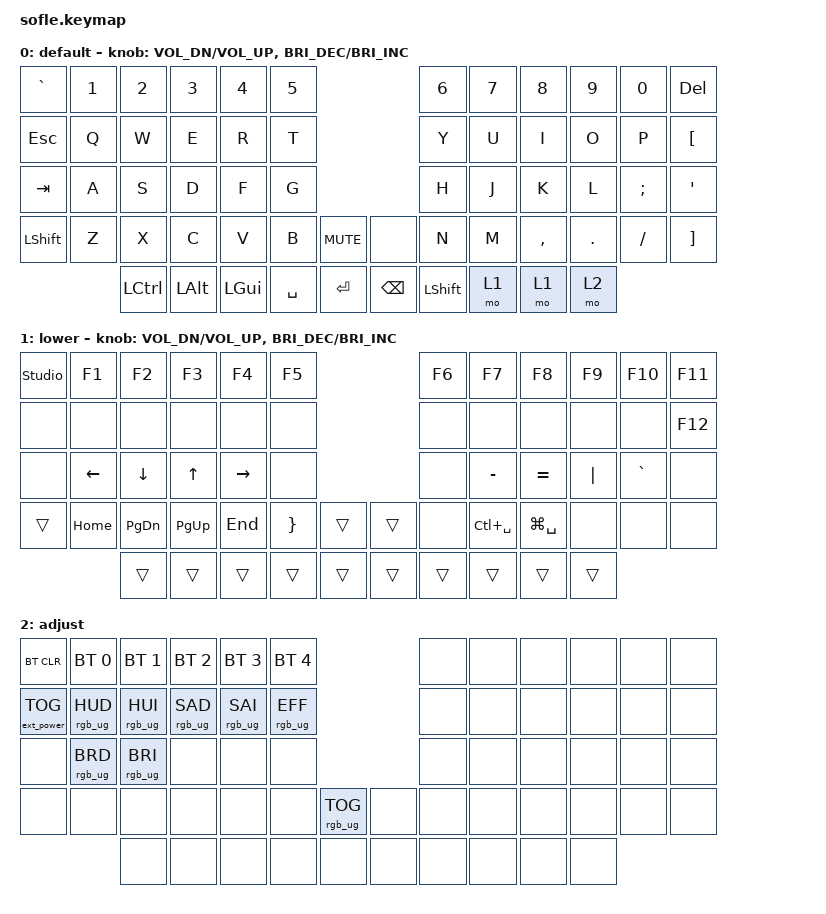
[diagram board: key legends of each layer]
/*
 * Copyright (c) 2020 The ZMK Contributors
 *
 * SPDX-License-Identifier: MIT
 */

#include <behaviors.dtsi>
#include <dt-bindings/zmk/bt.h>
#include <dt-bindings/zmk/ext_power.h>
#include <dt-bindings/zmk/keys.h>
#include <dt-bindings/zmk/rgb.h>

#define BASE 0
#define LOWER 1
#define ADJUST 2

/ {
    keymap {
        compatible = "zmk,keymap";

        default_layer {
            label = "default";
            bindings = <
&kp GRAVE  &kp N1  &kp N2     &kp N3    &kp N4    &kp N5                                  &kp N6          &kp N7  &kp N8     &kp N9   &kp N0    &kp DELETE
&kp ESC    &kp Q   &kp W      &kp E     &kp R     &kp T                                   &kp Y           &kp U   &kp I      &kp O    &kp P     &kp LBKT
&kp TAB    &kp A   &kp S      &kp D     &kp F     &kp G                                   &kp H           &kp J   &kp K      &kp L    &kp SEMI  &kp SQT
&kp LSHFT  &kp Z   &kp X      &kp C     &kp V     &kp B      &kp C_MUTE    &none          &kp N           &kp M   &kp COMMA  &kp DOT  &kp FSLH  &kp RBKT
                   &kp LCTRL  &kp LALT  &kp LGUI  &kp SPACE  &kp ENTER     &kp BACKSPACE  &kp LEFT_SHIFT  &mo 1   &mo 1      &mo 2
            >;

            sensor-bindings =
                <&inc_dec_kp C_VOL_DN C_VOL_UP>,
                <&inc_dec_kp C_BRIGHTNESS_DEC C_BRIGHTNESS_INC>;
        };

        lower_layer {
            label = "lower";
            bindings = <
&studio_unlock  &kp F1          &kp F2         &kp F3        &kp F4     &kp F5                      &kp F6  &kp F7         &kp F8         &kp F9    &kp F10    &kp F11
&none           &none           &none          &none         &none      &none                       &none   &none          &none          &none     &none      &kp F12
&none           &kp LEFT_ARROW  &kp DOWN       &kp UP_ARROW  &kp RIGHT  &none                       &none   &kp MINUS      &kp EQUAL      &kp PIPE  &kp GRAVE  &none
&trans          &kp HOME        &kp PAGE_DOWN  &kp PAGE_UP   &kp END    &kp RBRC  &trans    &trans  &none   &kp LC(SPACE)  &kp LG(SPACE)  &none     &none      &none
                                &trans         &trans        &trans     &trans    &trans    &trans  &trans  &trans         &trans         &trans
            >;

            sensor-bindings =
                <&inc_dec_kp C_VOL_DN C_VOL_UP>,
                <&inc_dec_kp C_BRIGHTNESS_DEC C_BRIGHTNESS_INC>;
        };

        adjust_layer {
            label = "adjust";
            bindings = <
&bt BT_CLR         &bt BT_SEL 0     &bt BT_SEL 1     &bt BT_SEL 2     &bt BT_SEL 3     &bt BT_SEL 4                               &none  &none  &none  &none  &none  &none
&ext_power EP_TOG  &rgb_ug RGB_HUD  &rgb_ug RGB_HUI  &rgb_ug RGB_SAD  &rgb_ug RGB_SAI  &rgb_ug RGB_EFF                            &none  &none  &none  &none  &none  &none
&none              &rgb_ug RGB_BRD  &rgb_ug RGB_BRI  &none            &none            &none                                      &none  &none  &none  &none  &none  &none
&none              &none            &none            &none            &none            &none            &rgb_ug RGB_TOG    &none  &none  &none  &none  &none  &none  &none
                                    &none            &none            &none            &none            &none              &none  &none  &none  &none  &none
            >;
        };
    };
};
